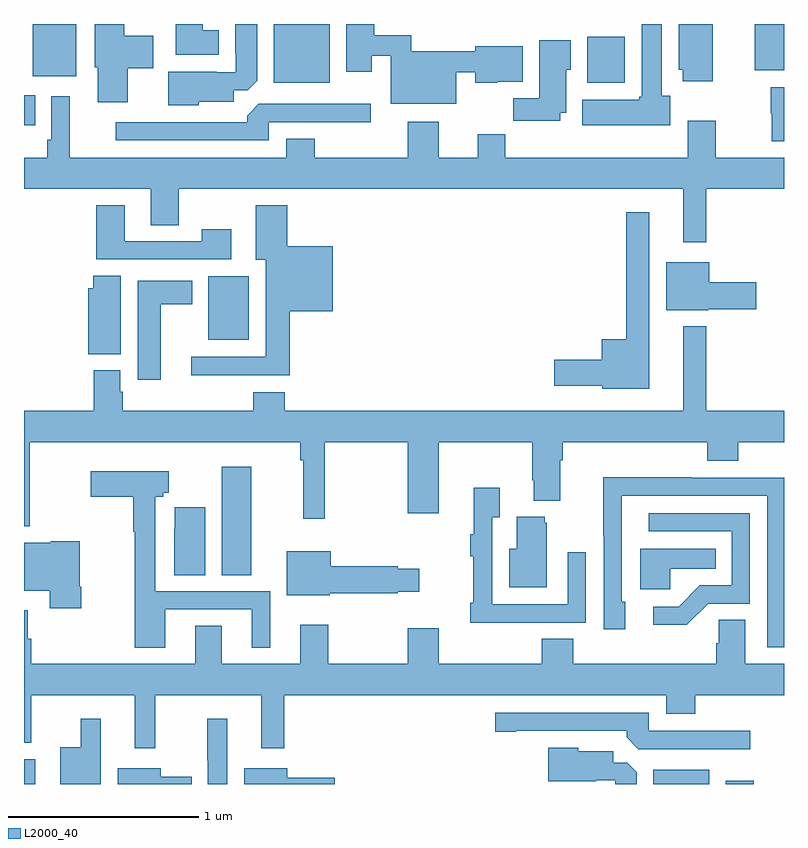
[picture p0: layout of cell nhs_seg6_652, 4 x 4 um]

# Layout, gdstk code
import gdstk
lib = gdstk.Library(unit=1e-6, precision=1e-09)
def R(c, l, rs):  # rectangles x0, y0, x1, y1
    for r in rs: c.add(gdstk.rectangle(r[:2], r[2:], *l))
def P(c, l, *ps):  # polygons
    for p in ps: c.add(gdstk.Polygon(p, *l))
L2000_40 = (2000, 40)

nhs_seg6_652 = lib.new_cell('nhs_seg6_652')
R(nhs_seg6_652, L2000_40, [(151,981.5,151.06,981.631), (154.313,981.5,154.606,981.574), (154.694,981.5,154.841,981.517), (152.042,982.6,152.197,983.17), (151.97,983.837,152.182,984.172), (151,984.968,151.058,985.126), (152.315,985.19,152.608,985.5), (153.965,985.19,154.162,985.432), (151.046,985.226,151.276,985.5), (154.847,985.256,155,985.5)])
P(nhs_seg6_652, L2000_40, [(152.026,985.468),(151.942,985.468),(151.942,985.5),(151.799,985.5),(151.799,985.337),(152.026,985.337)],
  [(153.274,985.245),(153.374,985.245),(153.374,985.19),(153.492,985.19),(153.492,985.196),(153.625,985.196),(153.625,985.384),(153.374,985.384),(153.374,985.356),(153.039,985.356),(153.039,985.441),(152.843,985.441),(152.843,985.5),(152.696,985.5),(152.696,985.248),(152.83,985.248),(152.83,985.332),(152.93,985.332),(152.93,985.079),(153.274,985.079)],
  [(154.402,985.122),(154.357,985.122),(154.357,985.5),(154.217,985.5),(154.217,985.499),(154.25,985.499),(154.25,985.116),(154.237,985.116),(154.237,985.102),(153.938,985.102),(153.938,984.968),(154.402,984.968)],
  [(151.92,985.091),(152.104,985.091),(152.104,985.152),(152.178,985.152),(152.227,985.201),(152.227,985.5),(152.111,985.5),(152.111,985.345),(152.115,985.345),(152.115,985.245),(152.015,985.245),(152.015,985.249),(151.76,985.249),(151.76,985.073),(151.92,985.073)],
  [(154.624,985.5),(154.445,985.5),(154.445,985.26),(154.466,985.26),(154.466,985.2),(154.624,985.2)],
  [(151.546,985.268),(151.681,985.268),(151.681,985.437),(151.528,985.437),(151.528,985.5),(151.373,985.5),(151.373,985.272),(151.388,985.272),(151.388,985.089),(151.546,985.089)],
  [(153.823,985.034),(153.853,985.034),(153.853,985.26),(153.877,985.26),(153.877,985.414),(153.713,985.414),(153.713,985.108),(153.574,985.108),(153.574,984.99),(153.823,984.99)],
  [(155,985.167),(154.931,985.167),(154.931,985.029),(154.936,985.029),(154.936,984.882),(155,984.882)],
  [(152.289,984.984),(152.824,984.984),(152.824,985.08),(152.235,985.08),(152.174,985.018),(152.174,984.984),(151.482,984.984),(151.482,984.888),(152.289,984.888)],
  [(154.493,984.991),(154.493,984.796),(153.533,984.796),(153.533,984.92),(153.389,984.92),(153.389,984.796),(153.184,984.796),(153.184,984.985),(153.02,984.985),(153.02,984.796),(152.529,984.796),(152.529,984.895),(152.381,984.895),(152.381,984.796),(151.242,984.796),(151.242,985.12),(151.143,985.12),(151.143,984.892),(151.123,984.892),(151.123,984.796),(151,984.796),(151,984.632),(151.667,984.632),(151.667,984.442),(151.815,984.442),(151.815,984.632),(154.469,984.632),(154.469,984.351),(154.591,984.351),(154.591,984.632),(155,984.632),(155,984.796),(154.641,984.796),(154.641,984.991)],
  [(152.092,984.421),(151.936,984.421),(151.936,984.357),(151.531,984.357),(151.531,984.547),(151.379,984.547),(151.379,984.261),(152.092,984.261)],
  [(152.399,983.987),(152.626,983.987),(152.626,984.331),(152.386,984.331),(152.386,984.547),(152.219,984.547),(152.219,984.26),(152.273,984.26),(152.273,983.748),(151.881,983.748),(151.881,983.651),(152.399,983.651)],
  [(154.291,984.508),(154.17,984.508),(154.17,983.842),(154.04,983.842),(154.04,983.732),(153.792,983.732),(153.792,983.597),(154.044,983.597),(154.044,983.579),(154.291,983.579)],
  [(154.602,983.999),(154.855,983.999),(154.855,984.141),(154.606,984.141),(154.606,984.247),(154.379,984.247),(154.379,983.993),(154.602,983.993)],
  [(151.51,984.176),(151.364,984.176),(151.364,984.109),(151.337,984.109),(151.337,983.762),(151.51,983.762)],
  [(151.72,984.026),(151.885,984.026),(151.885,984.148),(151.598,984.148),(151.598,983.628),(151.72,983.628)],
  [(151.031,983.3),(152.455,983.3),(152.455,983.204),(152.47,983.204),(152.47,982.896),(152.584,982.896),(152.584,983.3),(153.02,983.3),(153.02,982.926),(153.184,982.926),(153.184,983.3),(153.676,983.3),(153.676,983.098),(153.683,983.098),(153.683,982.991),(153.823,982.991),(153.823,983.204),(153.836,983.204),(153.836,983.3),(154.595,983.3),(154.595,983.201),(154.76,983.201),(154.76,983.3),(155,983.3),(155,983.464),(154.591,983.464),(154.591,983.908),(154.469,983.908),(154.469,983.464),(152.372,983.464),(152.372,983.563),(152.207,983.563),(152.207,983.464),(151.52,983.464),(151.52,983.565),(151.507,983.565),(151.507,983.677),(151.367,983.677),(151.367,983.464),(151,983.464),(151,982.856),(151.031,982.856)],
  [(151.744,982.419),(152.198,982.419),(152.198,982.218),(152.296,982.218),(152.296,982.515),(151.692,982.515),(151.692,983.012),(151.734,983.012),(151.734,983.032),(151.763,983.032),(151.763,983.146),(151.35,983.146),(151.35,983.012),(151.576,983.012),(151.576,982.828),(151.584,982.828),(151.584,982.218),(151.744,982.218)],
  [(155,983.112),(154.511,983.112),(154.511,983.114),(154.048,983.114),(154.048,982.807),(154.05,982.807),(154.05,982.314),(154.165,982.314),(154.165,982.458),(154.146,982.458),(154.146,982.762),(154.147,982.762),(154.147,983.016),(154.911,983.016),(154.911,982.221),(155,982.221)],
  [(153.641,982.35),(153.957,982.35),(153.957,982.72),(153.861,982.72),(153.861,982.446),(153.465,982.446),(153.465,982.903),(153.505,982.903),(153.505,983.059),(153.368,983.059),(153.368,982.814),(153.349,982.814),(153.349,982.7),(153.364,982.7),(153.364,982.453),(153.349,982.453),(153.349,982.349),(153.641,982.349)],
  [(151.954,982.957),(151.793,982.957),(151.793,982.844),(151.79,982.844),(151.79,982.6),(151.954,982.6)],
  [(154.602,982.449),(154.821,982.449),(154.821,982.926),(154.287,982.926),(154.287,982.83),(154.725,982.83),(154.725,982.545),(154.556,982.545),(154.445,982.434),(154.311,982.434),(154.311,982.337),(154.489,982.337)],
  [(153.751,982.875),(153.74,982.875),(153.74,982.906),(153.593,982.906),(153.593,982.738),(153.554,982.738),(153.554,982.535),(153.751,982.535)],
  [(151.302,982.537),(151.294,982.537),(151.294,982.777),(151.14,982.777),(151.14,982.771),(151,982.771),(151,982.517),(151.136,982.517),(151.136,982.425),(151.302,982.425)],
  [(154.401,982.634),(154.64,982.634),(154.64,982.738),(154.244,982.738),(154.244,982.526),(154.401,982.526)],
  [(152.61,982.504),(152.966,982.504),(152.966,982.511),(153.079,982.511),(153.079,982.633),(152.966,982.633),(152.966,982.646),(152.614,982.646),(152.614,982.726),(152.384,982.726),(152.384,982.493),(152.61,982.493)],
  [(151.69,981.968),(152.249,981.968),(152.249,981.687),(152.371,981.687),(152.371,981.968),(154.379,981.968),(154.379,981.869),(154.532,981.869),(154.532,981.968),(155,981.968),(155,982.132),(154.795,982.132),(154.795,982.364),(154.656,982.364),(154.656,982.241),(154.643,982.241),(154.643,982.132),(153.89,982.132),(153.89,982.265),(153.725,982.265),(153.725,982.132),(153.184,982.132),(153.184,982.321),(153.02,982.321),(153.02,982.132),(152.601,982.132),(152.601,982.339),(152.453,982.339),(152.453,982.132),(152.041,982.132),(152.041,982.334),(151.901,982.334),(151.901,982.132),(151.039,982.132),(151.039,982.265),(151.021,982.265),(151.021,982.414),(151,982.414),(151,981.716),(151.039,981.716),(151.039,981.968),(151.583,981.968),(151.583,981.687),(151.69,981.687)],
  [(154.822,981.78),(154.287,981.78),(154.287,981.876),(153.48,981.876),(153.48,981.775),(153.592,981.775),(153.592,981.78),(154.172,981.78),(154.172,981.746),(154.233,981.684),(154.822,981.684)],
  [(151.405,981.844),(151.299,981.844),(151.299,981.694),(151.19,981.694),(151.19,981.5),(151.405,981.5)],
  [(152.071,981.844),(151.965,981.844),(151.965,981.625),(151.967,981.625),(151.967,981.5),(152.071,981.5)],
  [(154.225,981.563),(154.176,981.612),(154.102,981.612),(154.102,981.673),(153.918,981.673),(153.918,981.691),(153.758,981.691),(153.758,981.515),(154.013,981.515),(154.013,981.519),(154.113,981.519),(154.113,981.5),(154.225,981.5)],
  [(151.882,981.537),(151.72,981.537),(151.72,981.583),(151.493,981.583),(151.493,981.5),(151.882,981.5)],
  [(152.635,981.534),(152.386,981.534),(152.386,981.583),(152.159,981.583),(152.159,981.5),(152.635,981.5)])

lib.write_gds('nhs_seg6_652.gds')
